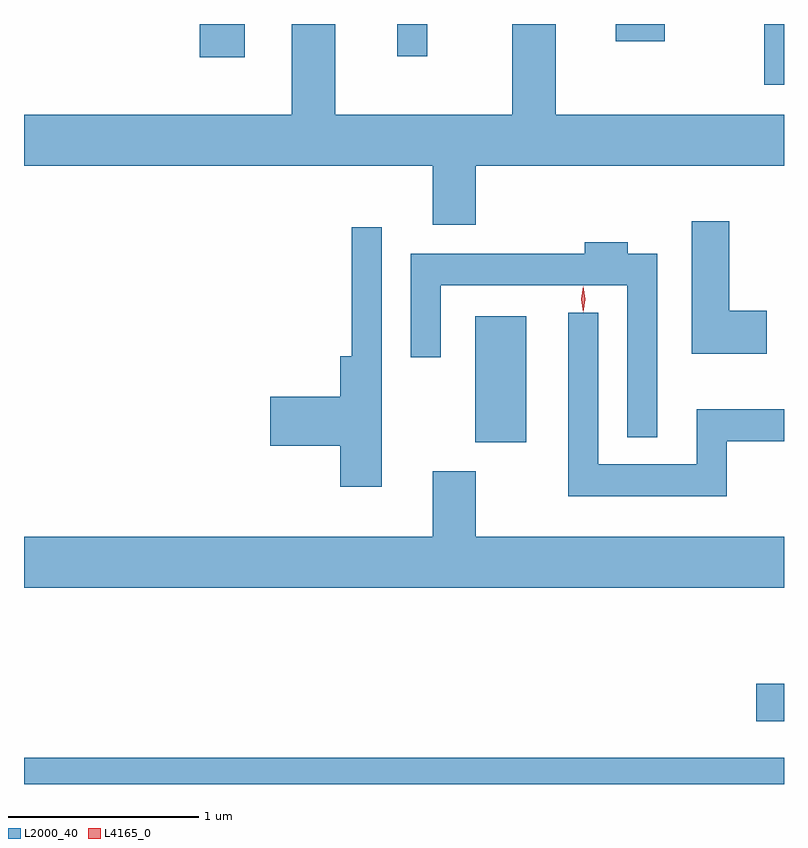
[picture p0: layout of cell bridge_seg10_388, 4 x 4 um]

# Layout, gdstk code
import gdstk
lib = gdstk.Library(unit=1e-6, precision=1e-09)
def R(c, l, rs):  # rectangles x0, y0, x1, y1
    for r in rs: c.add(gdstk.rectangle(r[:2], r[2:], *l))
def P(c, l, *ps):  # polygons
    for p in ps: c.add(gdstk.Polygon(p, *l))
L2000_40 = (2000, 40)
L4165_0 = (4165, 0)

bridge_seg10_388 = lib.new_cell('bridge_seg10_388')
R(bridge_seg10_388, L2000_40, [(1394.671,2112.882,1398.671,2113.019), (1398.526,2113.211,1398.671,2113.409), (1397.046,2114.681,1397.314,2115.344), (1398.566,2116.561,1398.671,2116.882), (1395.596,2116.706,1395.834,2116.882), (1396.636,2116.713,1396.794,2116.882), (1397.786,2116.791,1398.044,2116.882)])
P(bridge_seg10_388, L2000_40, [(1397.049,2116.136),(1398.671,2116.136),(1398.671,2116.404),(1397.469,2116.404),(1397.469,2116.882),(1397.241,2116.882),(1397.241,2116.404),(1396.309,2116.404),(1396.309,2116.882),(1396.081,2116.882),(1396.081,2116.404),(1394.671,2116.404),(1394.671,2116.136),(1396.821,2116.136),(1396.821,2115.826),(1397.049,2115.826)],
  [(1398.579,2115.374),(1398.384,2115.374),(1398.384,2115.844),(1398.186,2115.844),(1398.186,2115.146),(1398.579,2115.146)],
  [(1396.554,2115.813),(1396.396,2115.813),(1396.396,2115.134),(1396.336,2115.134),(1396.336,2114.919),(1395.966,2114.919),(1395.966,2114.661),(1396.336,2114.661),(1396.336,2114.446),(1396.554,2114.446)],
  [(1398.004,2115.674),(1397.849,2115.674),(1397.849,2115.734),(1397.621,2115.734),(1397.621,2115.674),(1396.706,2115.674),(1396.706,2115.128),(1396.864,2115.128),(1396.864,2115.506),(1397.846,2115.506),(1397.846,2114.708),(1398.004,2114.708)],
  [(1398.369,2114.686),(1398.671,2114.686),(1398.671,2114.854),(1398.211,2114.854),(1398.211,2114.564),(1397.694,2114.564),(1397.694,2115.363),(1397.536,2115.363),(1397.536,2114.396),(1398.369,2114.396)],
  [(1398.671,2114.184),(1397.049,2114.184),(1397.049,2114.529),(1396.821,2114.529),(1396.821,2114.184),(1394.671,2114.184),(1394.671,2113.916),(1398.671,2113.916)])
P(bridge_seg10_388, L4165_0, [(1397.614,2115.367),(1397.605,2115.434),(1397.614,2115.5),(1397.615,2115.5),(1397.615,2115.5),(1397.625,2115.434),(1397.615,2115.367),(1397.615,2115.367)],
  [(1397.614,2115.364),(1397.614,2115.364),(1397.604,2115.434),(1397.614,2115.502),(1397.614,2115.503),(1397.615,2115.502),(1397.624,2115.434),(1397.615,2115.364)])

lib.write_gds('bridge_seg10_388.gds')
